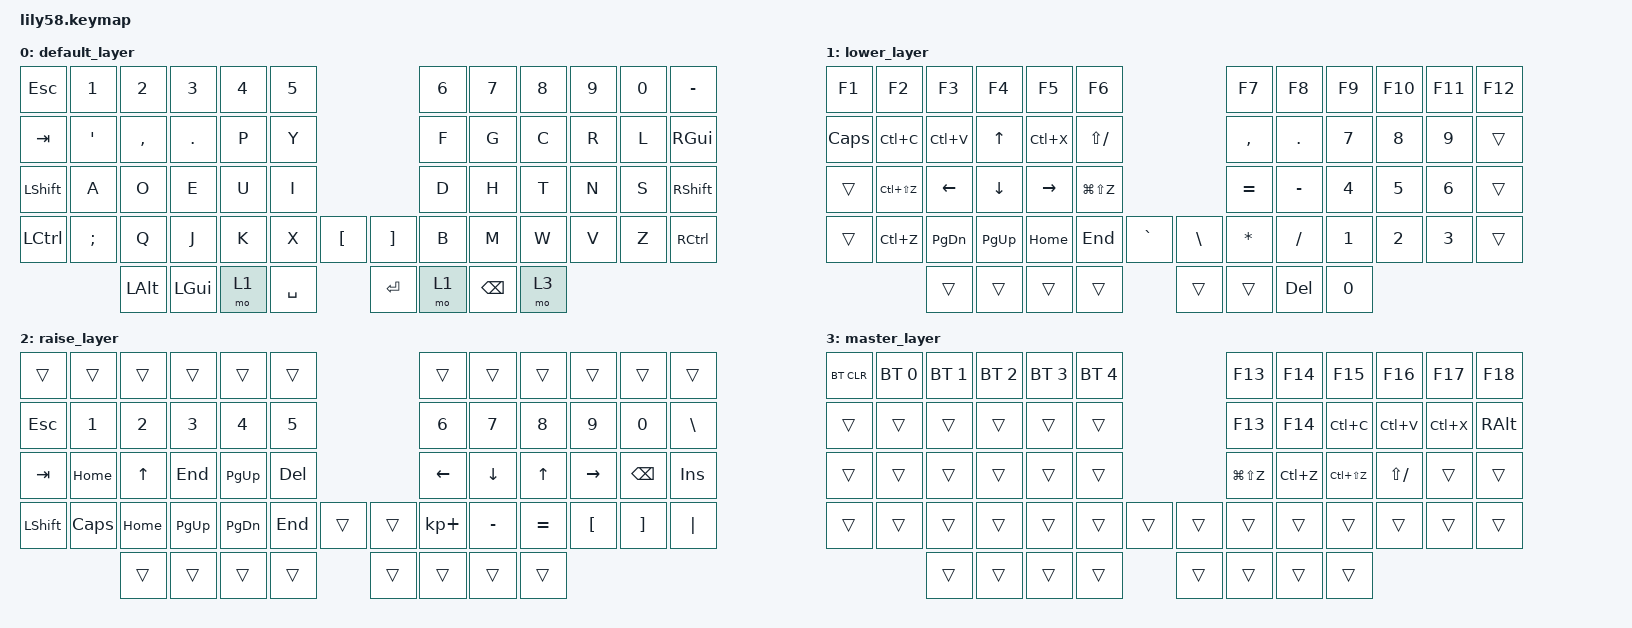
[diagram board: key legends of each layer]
#include <behaviors.dtsi>
#include <dt-bindings/zmk/keys.h>
#include <dt-bindings/zmk/bt.h>
#include <dt-bindings/zmk/outputs.h>
#include <dt-bindings/zmk/ext_power.h>

/ {
    keymap {
        compatible = "zmk,keymap";

        // ----------------------------------------------------------------------
        // QWERTY BASE (dual-master friendly)
        // ----------------------------------------------------------------------
        default_layer {
bindings = <
&kp ESC      &kp N1      &kp N2      &kp N3      &kp N4      &kp N5                       &kp N6      &kp N7      &kp N8      &kp N9      &kp N0      &kp MINUS
&kp TAB      &kp SQT     &kp COMMA   &kp DOT     &kp P       &kp Y                        &kp F       &kp G       &kp C       &kp R       &kp L       &kp RGUI
&kp LSHIFT   &kp A       &kp O       &kp E       &kp U       &kp I                        &kp D       &kp H       &kp T       &kp N       &kp S       &kp RSHFT
&kp LCTRL    &kp SEMI    &kp Q       &kp J       &kp K       &kp X    &kp LBKT  &kp RBKT  &kp B       &kp M       &kp W       &kp V       &kp Z       &kp RCTRL
                           &kp LALT &kp LGUI &mo 1 &kp SPACE                 &kp RET &mo 1 &kp BACKSPACE &mo 3
>;
        };

        // ----------------------------------------------------------------------
        // LOWER: symbols, function keys, power
        // ----------------------------------------------------------------------
        lower_layer {
            bindings = <
&kp F1     &kp F2     &kp F3    &kp F4    &kp F5     &kp F6                         &kp F7     &kp F8    &kp F9  &kp F10  &kp F11  &kp F12
&kp CAPS   &kp LC(C)   &kp LC(V)    &kp UP    &kp LC(X)    &kp LS(SLASH)                          &kp COMMA  &kp DOT  &kp N7  &kp N8   &kp N9   &trans
&trans   &kp LC(LS(Z))  &kp LEFT  &kp DOWN  &kp RIGHT  &kp LG(LS(Z))                         &kp EQUAL   &kp MINUS  &kp N4  &kp N5   &kp N6   &trans
&trans   &kp LC(Z) &kp PG_DN  &kp PG_UP    &kp HOME   &kp END &kp GRAVE    &kp BSLH  &kp STAR   &kp FSLH    &kp N1  &kp N2   &kp N3   &trans
                                &trans    &trans     &trans    &trans       &trans  &trans     &kp DEL   &kp N0
            >;
        };

        // ----------------------------------------------------------------------
        // RAISE: navigation / editing / keypad
        // ----------------------------------------------------------------------
        raise_layer {
            bindings = <
&trans &trans &trans &trans &trans &trans        &trans    &trans    &trans    &trans    &trans    &trans
&kp ESC &kp N1 &kp N2 &kp N3 &kp N4 &kp N5        &kp N6    &kp N7    &kp N8    &kp N9    &kp N0    &kp BSLH
&kp TAB &kp HOME &kp UP   &kp END  &kp PG_UP &kp DEL      &kp LEFT  &kp DOWN  &kp UP    &kp RIGHT &kp BSPC &kp INS
&kp LSHIFT &kp CAPS &kp HOME &kp PG_UP &kp PG_DN &kp END &trans &trans &kp KP_PLUS &kp MINUS &kp EQUAL &kp LBKT &kp RBKT &kp PIPE
                        &trans &trans &trans &trans &trans &trans &trans &trans
            >;
        };

        // ----------------------------------------------------------------------
        // MASTER: utilities for dual masters (host/pairing)
        // ----------------------------------------------------------------------
        master_layer {
            bindings = <
&bt BT_CLR   &bt BT_SEL 0 &bt BT_SEL 1 &bt BT_SEL 2 &bt BT_SEL 3 &bt BT_SEL 4     &kp F13      &kp F14      &kp F15  &kp F16  &kp F17  &kp F18
&trans       &trans       &trans       &trans       &trans       &trans           &kp F13      &kp F14      &kp LC(C)  &kp LC(V)  &kp LC(X)   &kp RALT
&trans       &trans       &trans       &trans       &trans       &trans           &kp LG(LS(Z))       &kp LC(Z)       &kp LC(LS(Z))   &kp LS(SLASH)   &trans   &trans
&trans       &trans       &trans       &trans       &trans       &trans &trans &trans &trans   &trans       &trans   &trans   &trans   &trans
                           &trans &trans &trans &trans &trans &trans &trans &trans
            >;
        };
    };
};
